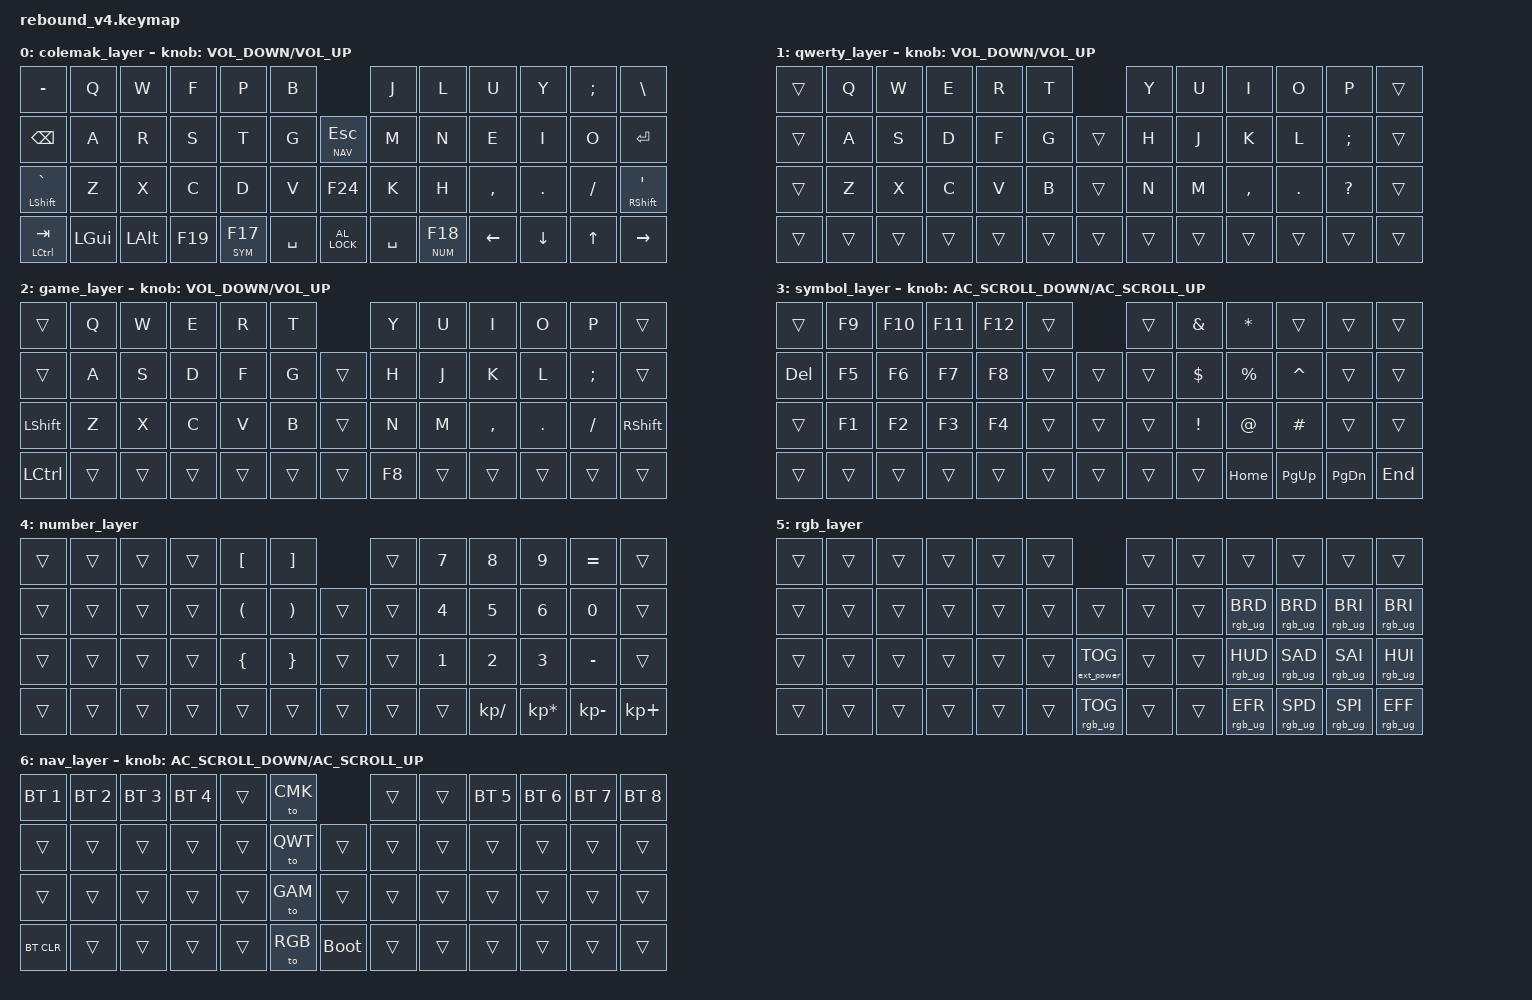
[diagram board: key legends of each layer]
/*
 * Copyright (c) 2020 The ZMK Contributors
 *
 * SPDX-License-Identifier: MIT
 */

#include <behaviors.dtsi>
#include <dt-bindings/zmk/keys.h>
#include <dt-bindings/zmk/bt.h>
#include <dt-bindings/zmk/outputs.h>
#include <dt-bindings/zmk/ext_power.h>
#include <dt-bindings/zmk/rgb.h>

#define CMK 0
#define QWT 1
#define GAM 2
#define SYM 3
#define NUM 4
#define RGB 5
#define NAV 6

&caps_word {
   continue-list = <UNDERSCORE MINUS BACKSPACE>;
};



/ {

    behaviors {
    };

    combos {
    };
};

/ {

        keymap {
        compatible = "zmk,keymap";

        colemak_layer {                      					  
		bindings = <
        &kp MINUS           &kp Q           &kp W     &kp F       &kp P        &kp B                    &kp J     &kp L          &kp U       &kp Y       &kp SEMI   &kp BSLH
        &kp BSPC            &kp A           &kp R     &kp S       &kp T        &kp G      &lt NAV ESC   &kp M     &kp N          &kp E       &kp I       &kp O      &kp ENTER
        &mt LSHIFT GRAVE    &kp Z           &kp X     &kp C       &kp D        &kp V      &kp F24       &kp K     &kp H          &kp COMMA   &kp DOT     &kp FSLH   &mt RSHIFT SQT
        &mt LCTRL TAB       &kp LEFT_GUI    &kp LALT  &kp F19     &lt SYM F17  &kp SPACE  &kp C_AL_LOCK &kp SPACE &lt NUM F18    &kp LEFT    &kp DOWN    &kp UP     &kp RIGHT
                        >;
			        sensor-bindings = <&inc_dec_kp C_VOLUME_DOWN C_VOLUME_UP>;
                };

        qwerty_layer {                      					  
		bindings = <
        &trans     &kp Q        &kp W     &kp E       &kp R    &kp T                &kp Y     &kp U     &kp I       &kp O       &kp P        &trans
        &trans     &kp A        &kp S     &kp D       &kp F    &kp G    &trans      &kp H     &kp J     &kp K       &kp L       &kp SEMI     &trans
        &trans     &kp Z        &kp X     &kp C       &kp V    &kp B    &trans      &kp N     &kp M     &kp COMMA   &kp DOT     &kp QMARK    &trans
        &trans     &trans       &trans    &trans      &trans   &trans   &trans      &trans    &trans    &trans      &trans      &trans       &trans
                        >;
			        sensor-bindings = <&inc_dec_kp C_VOLUME_DOWN C_VOLUME_UP>;
                };

        game_layer {                      					  
		bindings = <
        &trans     &kp Q        &kp W     &kp E       &kp R    &kp T                &kp Y     &kp U     &kp I       &kp O       &kp P        &trans
        &trans     &kp A        &kp S     &kp D       &kp F    &kp G    &trans      &kp H     &kp J     &kp K       &kp L       &kp SEMI     &trans
        &kp LSHIFT &kp Z        &kp X     &kp C       &kp V    &kp B    &trans      &kp N     &kp M     &kp COMMA   &kp DOT     &kp FSLH     &kp RSHIFT
        &kp LCTRL  &trans       &trans    &trans      &trans   &trans   &trans      &kp F8    &trans    &trans      &trans      &trans       &trans
                        >;
			        sensor-bindings = <&inc_dec_kp C_VOLUME_DOWN C_VOLUME_UP>;
                };

        symbol_layer {
                bindings = <
        &trans  &kp F9  &kp F10  &kp F11   &kp F12 &trans              &trans   &kp AMPS        &kp STAR        &trans          &trans    &trans
        &kp DEL &kp F5  &kp F6   &kp F7    &kp F8  &trans   &trans     &trans   &kp DLLR        &kp PRCNT       &kp CARET       &trans    &trans
        &trans  &kp F1  &kp F2   &kp F3    &kp F4  &trans   &trans     &trans   &kp EXCL        &kp AT          &kp HASH        &trans    &trans
        &trans  &trans  &trans   &trans    &trans  &trans   &trans     &trans   &trans          &kp HOME        &kp PG_UP       &kp PG_DN &kp END
                        >;
                        sensor-bindings = <&inc_dec_kp C_AC_SCROLL_DOWN C_AC_SCROLL_UP>;
                };

        number_layer {
                bindings = <
        &trans &trans   &trans  &trans  &kp LBKT &kp RBKT                     &trans      &kp N7      &kp N8         &kp N9           &kp EQUAL     &trans
        &trans &trans   &trans  &trans  &kp LPAR &kp RPAR    &trans           &trans      &kp N4      &kp N5         &kp N6           &kp N0        &trans 
        &trans &trans   &trans  &trans  &kp LBRC &kp RBRC    &trans           &trans      &kp N1      &kp N2         &kp N3           &kp MINUS     &trans
        &trans &trans   &trans  &trans  &trans   &trans      &trans           &trans      &trans      &kp KP_SLASH   &kp KP_MULTIPLY  &kp KP_MINUS  &kp KP_PLUS
                        >;
                };

        rgb_layer {
                bindings = <
        &trans &trans  &trans &trans &trans &trans                        &trans           &trans        &trans               &trans               &trans               &trans 
        &trans &trans  &trans &trans &trans &trans     &trans             &trans           &trans        &rgb_ug RGB_BRD      &rgb_ug RGB_BRD      &rgb_ug RGB_BRI      &rgb_ug RGB_BRI
        &trans &trans  &trans &trans &trans &trans     &ext_power EP_TOG  &trans           &trans        &rgb_ug RGB_HUD      &rgb_ug RGB_SAD      &rgb_ug RGB_SAI      &rgb_ug RGB_HUI
        &trans &trans  &trans &trans &trans &trans     &rgb_ug RGB_TOG    &trans           &trans        &rgb_ug RGB_EFR      &rgb_ug RGB_SPD      &rgb_ug RGB_SPI      &rgb_ug RGB_EFF
                        >;
                };    

        nav_layer {
                bindings = <
        &bt BT_SEL 1 &bt BT_SEL 2  &bt BT_SEL 3 &bt BT_SEL 4 &trans &to CMK                   &trans &trans  &bt BT_SEL 5 &bt BT_SEL 6 &bt BT_SEL 7 &bt BT_SEL 8 
        &trans       &trans        &trans       &trans       &trans &to QWT  &trans           &trans &trans  &trans       &trans       &trans       &trans 
        &trans       &trans        &trans       &trans       &trans &to GAM  &trans           &trans &trans  &trans       &trans       &trans       &trans 
        &bt BT_CLR   &trans        &trans       &trans       &trans &to RGB  &bootloader      &trans &trans  &trans       &trans       &trans       &trans
                        >;
                        sensor-bindings = <&inc_dec_kp C_AC_SCROLL_DOWN C_AC_SCROLL_UP>;
                };
        };
};
